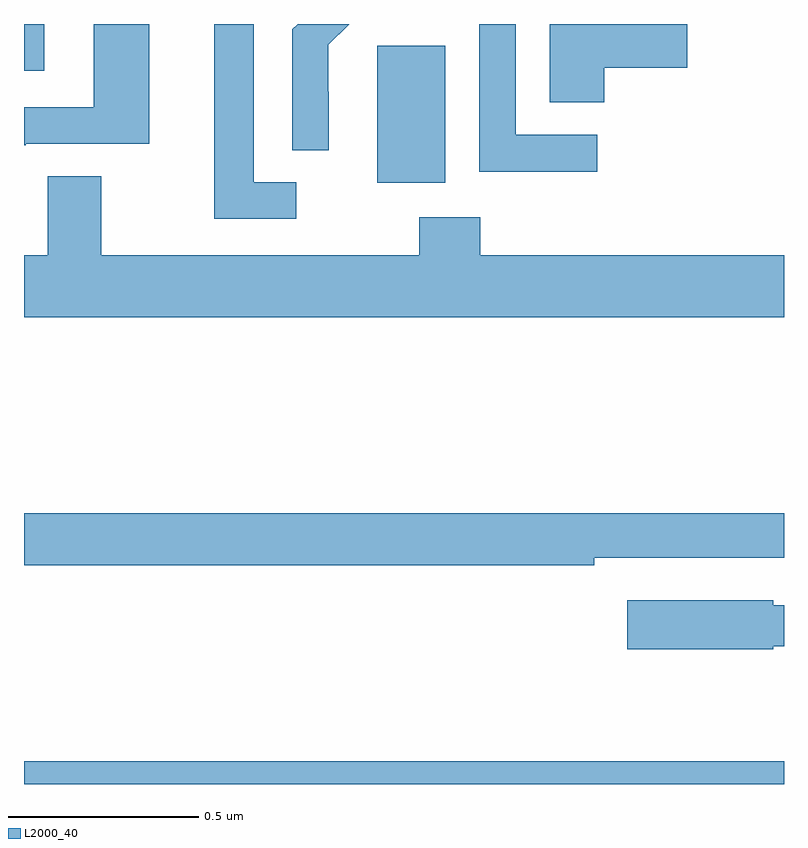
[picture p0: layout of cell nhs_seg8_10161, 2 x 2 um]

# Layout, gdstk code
import gdstk
lib = gdstk.Library(unit=1e-6, precision=1e-09)
def R(c, l, rs):  # rectangles x0, y0, x1, y1
    for r in rs: c.add(gdstk.rectangle(r[:2], r[2:], *l))
def P(c, l, *ps):  # polygons
    for p in ps: c.add(gdstk.Polygon(p, *l))
L2000_40 = (2000, 40)

nhs_seg8_10161 = lib.new_cell('nhs_seg8_10161')
R(nhs_seg8_10161, L2000_40, [(245,1153.9,247,1153.96), (245.93,1155.482,246.109,1155.843), (245,1155.777,245.053,1155.9)])
P(nhs_seg8_10161, L2000_40, [(246.527,1155.785),(246.745,1155.785),(246.745,1155.9),(246.383,1155.9),(246.383,1155.694),(246.527,1155.694)],
  [(245.005,1155.585),(245.329,1155.585),(245.329,1155.9),(245.184,1155.9),(245.184,1155.681),(245,1155.681),(245,1155.581),(245.005,1155.581)],
  [(245.802,1155.722),(245.801,1155.722),(245.801,1155.845),(245.856,1155.9),(245.72,1155.9),(245.706,1155.886),(245.706,1155.568),(245.802,1155.568)],
  [(246.508,1155.609),(246.294,1155.609),(246.294,1155.9),(246.198,1155.9),(246.198,1155.511),(246.508,1155.511)],
  [(245.716,1155.483),(245.605,1155.483),(245.605,1155.9),(245.501,1155.9),(245.501,1155.387),(245.716,1155.387)],
  [(247,1155.292),(246.2,1155.292),(246.2,1155.391),(246.04,1155.391),(246.04,1155.292),(245.203,1155.292),(245.203,1155.5),(245.063,1155.5),(245.063,1155.292),(245,1155.292),(245,1155.128),(247,1155.128)],
  [(246.5,1154.496),(247,1154.496),(247,1154.612),(245,1154.612),(245,1154.476),(246.5,1154.476)],
  [(246.972,1154.262),(247,1154.262),(247,1154.37),(246.972,1154.37),(246.972,1154.383),(246.588,1154.383),(246.588,1154.254),(246.972,1154.254)])

lib.write_gds('nhs_seg8_10161.gds')
